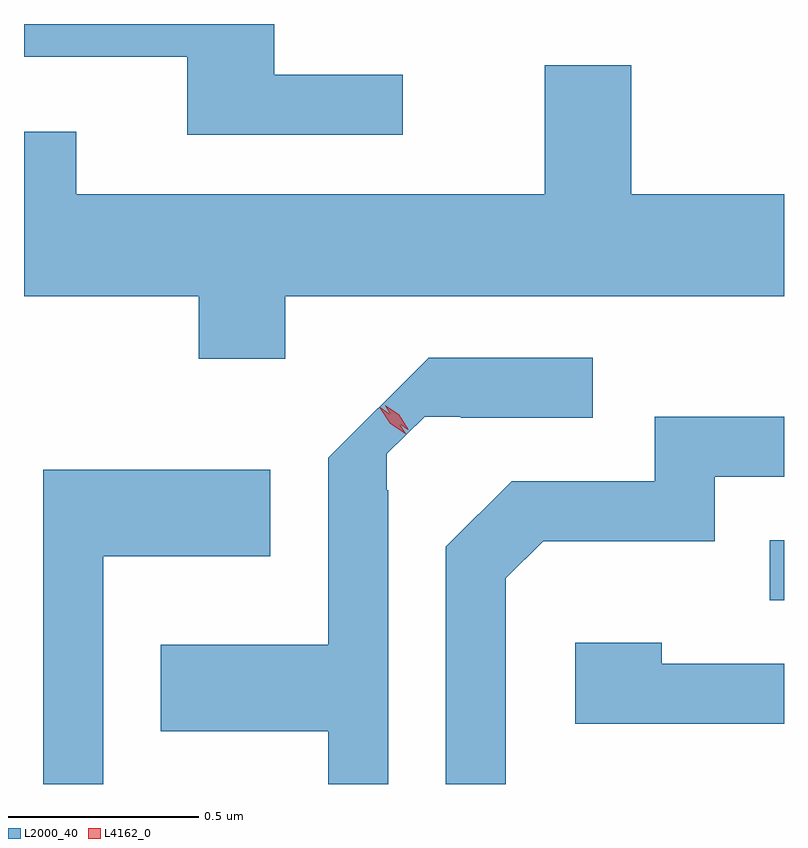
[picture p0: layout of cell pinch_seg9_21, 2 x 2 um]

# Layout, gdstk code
import gdstk
lib = gdstk.Library(unit=1e-6, precision=1e-09)
def R(c, l, rs):  # rectangles x0, y0, x1, y1
    for r in rs: c.add(gdstk.rectangle(r[:2], r[2:], *l))
def P(c, l, *ps):  # polygons
    for p in ps: c.add(gdstk.Polygon(p, *l))
L2000_40 = (2000, 40)
L4162_0 = (4162, 0)

pinch_seg9_21 = lib.new_cell('pinch_seg9_21')
R(pinch_seg9_21, L2000_40, [(1908.683,2004.336,1908.721,2004.494)])
P(pinch_seg9_21, L2000_40, [(1907.718,2005.719),(1907.379,2005.719),(1907.379,2005.852),(1906.721,2005.852),(1906.721,2005.766),(1907.151,2005.766),(1907.151,2005.561),(1907.718,2005.561)],
  [(1907.409,2005.136),(1908.721,2005.136),(1908.721,2005.404),(1908.319,2005.404),(1908.319,2005.744),(1908.091,2005.744),(1908.091,2005.404),(1906.859,2005.404),(1906.859,2005.569),(1906.721,2005.569),(1906.721,2005.136),(1907.181,2005.136),(1907.181,2004.971),(1907.409,2004.971)],
  [(1907.679,2004.625),(1907.676,2004.625),(1907.676,2004.721),(1907.775,2004.819),(1907.87,2004.819),(1907.87,2004.816),(1908.218,2004.816),(1908.218,2004.974),(1907.786,2004.974),(1907.521,2004.71),(1907.521,2004.219),(1907.081,2004.219),(1907.081,2003.991),(1907.521,2003.991),(1907.521,2003.852),(1907.679,2003.852)],
  [(1907.989,2004.394),(1908.087,2004.491),(1908.539,2004.491),(1908.539,2004.661),(1908.721,2004.661),(1908.721,2004.819),(1908.381,2004.819),(1908.381,2004.649),(1908.004,2004.649),(1907.831,2004.477),(1907.831,2003.852),(1907.989,2003.852)],
  [(1906.929,2004.451),(1907.369,2004.451),(1907.369,2004.679),(1906.771,2004.679),(1906.771,2003.852),(1906.929,2003.852)],
  [(1908.721,2004.169),(1908.399,2004.169),(1908.399,2004.224),(1908.171,2004.224),(1908.171,2004.011),(1908.721,2004.011)])
P(pinch_seg9_21, L4162_0, [(1907.727,2004.772),(1907.685,2004.8),(1907.657,2004.842),(1907.657,2004.843),(1907.658,2004.843),(1907.699,2004.815),(1907.727,2004.773),(1907.727,2004.772)],
  [(1907.731,2004.784),(1907.694,2004.81),(1907.671,2004.848),(1907.671,2004.849),(1907.672,2004.849),(1907.709,2004.824),(1907.732,2004.785),(1907.732,2004.784)])

lib.write_gds('pinch_seg9_21.gds')
